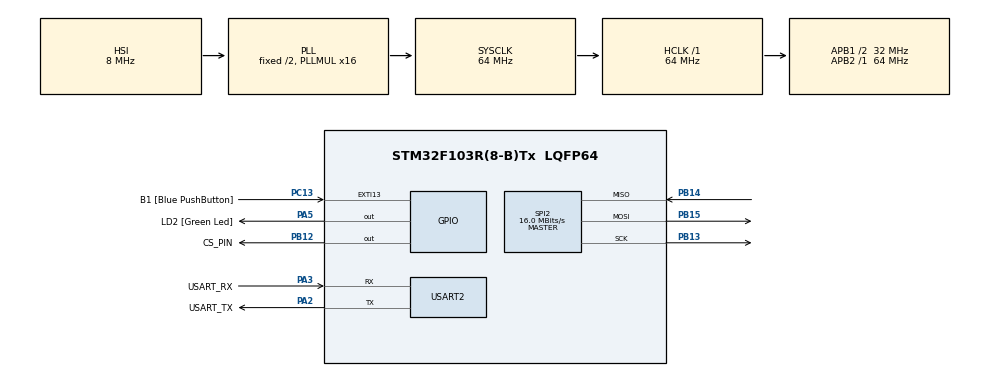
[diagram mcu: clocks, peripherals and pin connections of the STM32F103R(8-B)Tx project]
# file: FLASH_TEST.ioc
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Mcu.Family=STM32F1
Mcu.Name=STM32F103R(8-B)Tx
Mcu.Package=LQFP64
NVIC.EXTI15_10_IRQn=true\:0\:0\:false\:false\:true\:true\:true\:true
NVIC.PriorityGroup=NVIC_PRIORITYGROUP_4
PA13.GPIO_Label=TMS
PA13.Mode=Serial_Wire
PA13.Signal=SYS_JTMS-SWDIO
PA14.GPIO_Label=TCK
PA14.Mode=Serial_Wire
PA14.Signal=SYS_JTCK-SWCLK
PA2.GPIO_Label=USART_TX
PA2.GPIO_Mode=GPIO_MODE_AF_PP
PA2.GPIO_PuPd=GPIO_NOPULL
PA2.GPIO_Speed=GPIO_SPEED_FREQ_LOW
PA2.Mode=Asynchronous
PA2.Signal=USART2_TX
PA3.GPIO_Label=USART_RX
PA3.GPIO_Mode=GPIO_MODE_AF_PP
PA3.GPIO_PuPd=GPIO_NOPULL
PA3.GPIO_Speed=GPIO_SPEED_FREQ_LOW
PA3.Mode=Asynchronous
PA3.Signal=USART2_RX
PA5.GPIO_Label=LD2 [Green Led]
PA5.GPIO_ModeDefaultOutputPP=GPIO_MODE_OUTPUT_PP
PA5.GPIO_PuPd=GPIO_NOPULL
PA5.GPIO_Speed=GPIO_SPEED_FREQ_LOW
PA5.Signal=GPIO_Output
PB12.GPIO_Label=CS_PIN
PB12.GPIO_PuPd=GPIO_PULLUP
PB12.PinState=GPIO_PIN_SET
PB12.Signal=GPIO_Output
PB13.Mode=Full_Duplex_Master
PB13.Signal=SPI2_SCK
PB14.Mode=Full_Duplex_Master
PB14.Signal=SPI2_MISO
PB15.Mode=Full_Duplex_Master
PB15.Signal=SPI2_MOSI
PB3.GPIO_Label=SWO
PB3.Signal=SYS_JTDO-TRACESWO
PC13-TAMPER-RTC.GPIO_Label=B1 [Blue PushButton]
PC13-TAMPER-RTC.GPIO_PuPd=GPIO_NOPULL
PC13-TAMPER-RTC.Signal=GPXTI13
PC14-OSC32_IN.Mode=LSE-External-Oscillator
PC14-OSC32_IN.Signal=RCC_OSC32_IN
PC15-OSC32_OUT.Mode=LSE-External-Oscillator
PC15-OSC32_OUT.Signal=RCC_OSC32_OUT
PD0-OSC_IN.Mode=HSE-External-Clock-Source
PD0-OSC_IN.Signal=RCC_OSC_IN
PD1-OSC_OUT.Mode=HSE-External-Clock-Source
PD1-OSC_OUT.Signal=RCC_OSC_OUT
ProjectManager.HeapSize=0x200
ProjectManager.StackSize=0x400
ProjectManager.TargetToolchain=STM32CubeIDE
RCC.AHBFreq_Value=64000000
RCC.APB1CLKDivider=RCC_HCLK_DIV2
RCC.APB1Freq_Value=32000000
RCC.APB1TimFreq_Value=64000000
RCC.APB2Freq_Value=64000000
RCC.APB2TimFreq_Value=64000000
RCC.HCLKFreq_Value=64000000
RCC.PLLMUL=RCC_PLL_MUL16
RCC.RTCClockSelection=RCC_RTCCLKSOURCE_LSE
RCC.SYSCLKFreq_VALUE=64000000
RCC.SYSCLKSource=RCC_SYSCLKSOURCE_PLLCLK
RCC.USBFreq_Value=64000000
SPI2.BaudRatePrescaler=SPI_BAUDRATEPRESCALER_2
SPI2.CalculateBaudRate=16.0 MBits/s
SPI2.Direction=SPI_DIRECTION_2LINES
SPI2.Mode=SPI_MODE_MASTER
SPI2.VirtualType=VM_MASTER
USART2.VirtualMode=VM_ASYNC
board=NUCLEO-F103RB

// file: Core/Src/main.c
/* USER CODE BEGIN Header */
/**
  ******************************************************************************
  * @file           : main.c
  * @brief          : Main program body
  ******************************************************************************
  * @attention
  *
  * Copyright (c) 2025 STMicroelectronics.
  * All rights reserved.
  *
  * This software is licensed under terms that can be found in the LICENSE file
  * in the root directory of this software component.
  * If no LICENSE file comes with this software, it is provided AS-IS.
  *
  ******************************************************************************
  */
/* USER CODE END Header */
#include "main.h"

/* USER CODE BEGIN Includes */
#include <string.h>
#include "Flash_driver.h"

/* USER CODE END Includes */

SPI_HandleTypeDef hspi2;

UART_HandleTypeDef huart2;

void SystemClock_Config(void);
static void MX_GPIO_Init(void);
static void MX_USART2_UART_Init(void);
static void MX_SPI2_Init(void);

/* USER CODE BEGIN 0 */
void send_uart(char *string) {
    HAL_UART_Transmit(&huart2, (uint8_t*)string, strlen(string), HAL_MAX_DELAY);
}

void send_byte_as_binary(uint8_t byte) {
    char binaryString[9];  // 8 bits + null terminator

    for (int i = 0; i < 8; i++) {
        binaryString[i] = (byte & (1 << (7 - i))) ? '1' : '0';
    }
    binaryString[8] = '\0';  // Null-terminate the string

    send_uart(binaryString); // Send the binary string
    send_uart("\r\n");       // Newline for readability
}

/* USER CODE END 0 */

int main(void)
{

  /* MCU Configuration--------------------------------------------------------*/

  /* Reset of all peripherals, Initializes the Flash interface and the Systick. */
  HAL_Init();

  /* Configure the system clock */
  SystemClock_Config();

  /* Initialize all configured peripherals */
  MX_GPIO_Init();
  MX_USART2_UART_Init();
  MX_SPI2_Init();
  /* USER CODE BEGIN 2 */
  uint32_t temp =Read_ID();
  temp=0;
  temp=Read_ID();
  //Block_Erase(0x0000);
  /* USER CODE END 2 */

  /* Infinite loop */
  /* USER CODE BEGIN WHILE */
  while (1)
  {

	uint8_t SR_2 = Read_Status_Register(SR_2_Addr);
	send_byte_as_binary(SR_2);

	Flash_Init(0);

	SR_2 = Read_Status_Register(SR_2_Addr);
	send_byte_as_binary(SR_2);

	HAL_Delay(1000);
    /* USER CODE END WHILE */

  }
}

void SystemClock_Config(void)
{
  RCC_OscInitTypeDef RCC_OscInitStruct = {0};
  RCC_ClkInitTypeDef RCC_ClkInitStruct = {0};

  /** Initializes the RCC Oscillators according to the specified parameters
  * in the RCC_OscInitTypeDef structure.
  */
  RCC_OscInitStruct.OscillatorType = RCC_OSCILLATORTYPE_HSI;
  RCC_OscInitStruct.HSIState = RCC_HSI_ON;
  RCC_OscInitStruct.HSICalibrationValue = RCC_HSICALIBRATION_DEFAULT;
  RCC_OscInitStruct.PLL.PLLState = RCC_PLL_ON;
  RCC_OscInitStruct.PLL.PLLSource = RCC_PLLSOURCE_HSI_DIV2;
  RCC_OscInitStruct.PLL.PLLMUL = RCC_PLL_MUL16;
  if (HAL_RCC_OscConfig(&RCC_OscInitStruct) != HAL_OK)
  {
    Error_Handler();
  }

  /** Initializes the CPU, AHB and APB buses clocks
  */
  RCC_ClkInitStruct.ClockType = RCC_CLOCKTYPE_HCLK|RCC_CLOCKTYPE_SYSCLK
                              |RCC_CLOCKTYPE_PCLK1|RCC_CLOCKTYPE_PCLK2;
  RCC_ClkInitStruct.SYSCLKSource = RCC_SYSCLKSOURCE_PLLCLK;
  RCC_ClkInitStruct.AHBCLKDivider = RCC_SYSCLK_DIV1;
  RCC_ClkInitStruct.APB1CLKDivider = RCC_HCLK_DIV2;
  RCC_ClkInitStruct.APB2CLKDivider = RCC_HCLK_DIV1;

  if (HAL_RCC_ClockConfig(&RCC_ClkInitStruct, FLASH_LATENCY_2) != HAL_OK)
  {
    Error_Handler();
  }
}

static void MX_SPI2_Init(void)
{

  /* SPI2 parameter configuration*/
  hspi2.Instance = SPI2;
  hspi2.Init.Mode = SPI_MODE_MASTER;
  hspi2.Init.Direction = SPI_DIRECTION_2LINES;
  hspi2.Init.DataSize = SPI_DATASIZE_8BIT;
  hspi2.Init.CLKPolarity = SPI_POLARITY_LOW;
  hspi2.Init.CLKPhase = SPI_PHASE_1EDGE;
  hspi2.Init.NSS = SPI_NSS_SOFT;
  hspi2.Init.BaudRatePrescaler = SPI_BAUDRATEPRESCALER_2;
  hspi2.Init.FirstBit = SPI_FIRSTBIT_MSB;
  hspi2.Init.TIMode = SPI_TIMODE_DISABLE;
  hspi2.Init.CRCCalculation = SPI_CRCCALCULATION_DISABLE;
  hspi2.Init.CRCPolynomial = 10;
  if (HAL_SPI_Init(&hspi2) != HAL_OK)
  {
    Error_Handler();
  }

}

static void MX_USART2_UART_Init(void)
{

  huart2.Instance = USART2;
  huart2.Init.BaudRate = 115200;
  huart2.Init.WordLength = UART_WORDLENGTH_8B;
  huart2.Init.StopBits = UART_STOPBITS_1;
  huart2.Init.Parity = UART_PARITY_NONE;
  huart2.Init.Mode = UART_MODE_TX_RX;
  huart2.Init.HwFlowCtl = UART_HWCONTROL_NONE;
  huart2.Init.OverSampling = UART_OVERSAMPLING_16;
  if (HAL_UART_Init(&huart2) != HAL_OK)
  {
    Error_Handler();
  }

}

static void MX_GPIO_Init(void)
{
  GPIO_InitTypeDef GPIO_InitStruct = {0};

  /* GPIO Ports Clock Enable */
  __HAL_RCC_GPIOC_CLK_ENABLE();
  __HAL_RCC_GPIOD_CLK_ENABLE();
  __HAL_RCC_GPIOA_CLK_ENABLE();
  __HAL_RCC_GPIOB_CLK_ENABLE();

  /*Configure GPIO pin Output Level */
  HAL_GPIO_WritePin(LD2_GPIO_Port, LD2_Pin, GPIO_PIN_RESET);

  /*Configure GPIO pin Output Level */
  HAL_GPIO_WritePin(CS_PIN_GPIO_Port, CS_PIN_Pin, GPIO_PIN_SET);

  /*Configure GPIO pin : B1_Pin */
  GPIO_InitStruct.Pin = B1_Pin;
  GPIO_InitStruct.Mode = GPIO_MODE_IT_RISING;
  GPIO_InitStruct.Pull = GPIO_NOPULL;
  HAL_GPIO_Init(B1_GPIO_Port, &GPIO_InitStruct);

  /*Configure GPIO pin : LD2_Pin */
  GPIO_InitStruct.Pin = LD2_Pin;
  GPIO_InitStruct.Mode = GPIO_MODE_OUTPUT_PP;
  GPIO_InitStruct.Pull = GPIO_NOPULL;
  GPIO_InitStruct.Speed = GPIO_SPEED_FREQ_LOW;
  HAL_GPIO_Init(LD2_GPIO_Port, &GPIO_InitStruct);

  /*Configure GPIO pin : CS_PIN_Pin */
  GPIO_InitStruct.Pin = CS_PIN_Pin;
  GPIO_InitStruct.Mode = GPIO_MODE_OUTPUT_PP;
  GPIO_InitStruct.Pull = GPIO_PULLUP;
  GPIO_InitStruct.Speed = GPIO_SPEED_FREQ_LOW;
  HAL_GPIO_Init(CS_PIN_GPIO_Port, &GPIO_InitStruct);

  /* EXTI interrupt init*/
  HAL_NVIC_SetPriority(EXTI15_10_IRQn, 0, 0);
  HAL_NVIC_EnableIRQ(EXTI15_10_IRQn);

}

void Error_Handler(void)
{
  __disable_irq();
  while (1)
  {
  }
}
